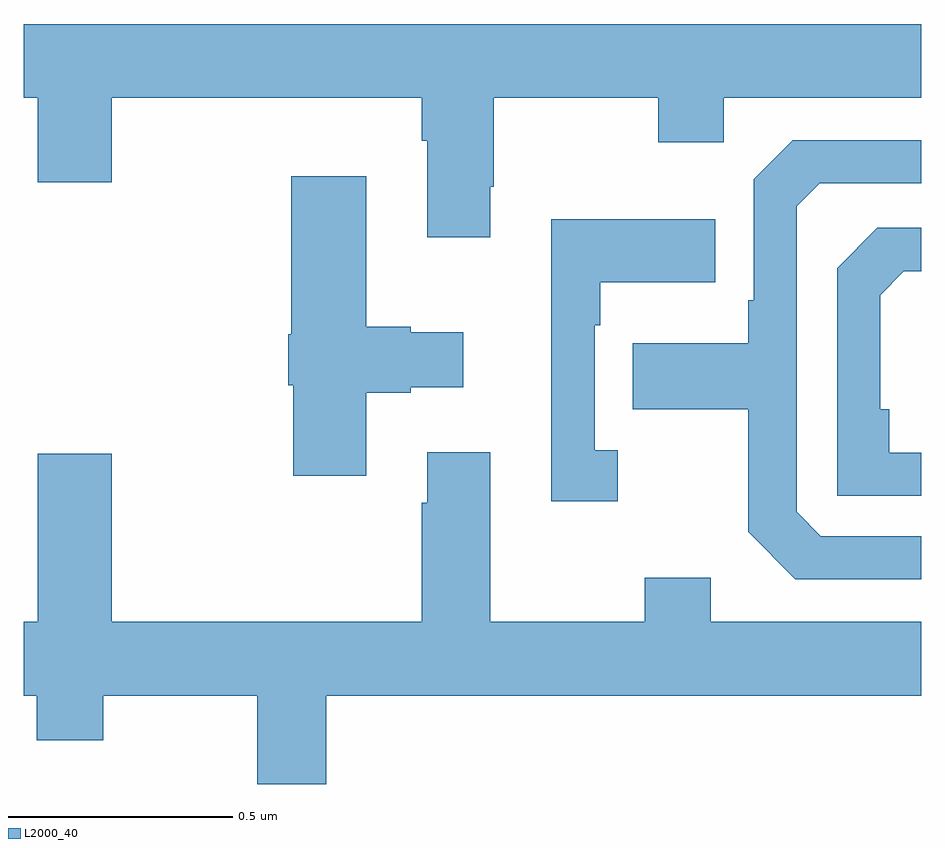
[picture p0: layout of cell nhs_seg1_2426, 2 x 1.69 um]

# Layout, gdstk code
import gdstk
lib = gdstk.Library(unit=1e-6, precision=1e-09)
def P(c, l, *ps):  # polygons
    for p in ps: c.add(gdstk.Polygon(p, *l))
L2000_40 = (2000, 40)

nhs_seg1_2426 = lib.new_cell('nhs_seg1_2426')
P(nhs_seg1_2426, L2000_40, [(142.039,555.529),(142.047,555.529),(142.047,555.728),(142.414,555.728),(142.414,555.629),(142.56,555.629),(142.56,555.728),(143,555.728),(143,555.892),(141,555.892),(141,555.728),(141.032,555.728),(141.032,555.54),(141.196,555.54),(141.196,555.728),(141.887,555.728),(141.887,555.632),(141.899,555.632),(141.899,555.417),(142.039,555.417)],
  [(143,554.751),(142.776,554.751),(142.722,554.805),(142.722,555.486),(142.773,555.537),(143,555.537),(143,555.633),(142.713,555.633),(142.626,555.546),(142.626,555.277),(142.614,555.277),(142.614,555.181),(142.357,555.181),(142.357,555.034),(142.614,555.034),(142.614,554.761),(142.719,554.655),(143,554.655)],
  [(141.763,555.071),(141.863,555.071),(141.863,555.083),(141.979,555.083),(141.979,555.205),(141.863,555.205),(141.863,555.218),(141.763,555.218),(141.763,555.553),(141.596,555.553),(141.596,555.201),(141.59,555.201),(141.59,555.087),(141.601,555.087),(141.601,554.886),(141.763,554.886)],
  [(142.324,554.942),(142.272,554.942),(142.272,555.221),(142.285,555.221),(142.285,555.317),(142.541,555.317),(142.541,555.457),(142.175,555.457),(142.175,554.829),(142.324,554.829)],
  [(143,554.937),(142.928,554.937),(142.928,555.034),(142.908,555.034),(142.908,555.288),(142.961,555.341),(143,555.341),(143,555.438),(142.902,555.438),(142.812,555.348),(142.812,554.841),(143,554.841)],
  [(141.674,554.396),(143,554.396),(143,554.56),(142.531,554.56),(142.531,554.659),(142.384,554.659),(142.384,554.56),(142.039,554.56),(142.039,554.938),(141.899,554.938),(141.899,554.825),(141.887,554.825),(141.887,554.56),(141.196,554.56),(141.196,554.935),(141.032,554.935),(141.032,554.56),(141,554.56),(141,554.396),(141.029,554.396),(141.029,554.297),(141.177,554.297),(141.177,554.396),(141.521,554.396),(141.521,554.199),(141.674,554.199)])

lib.write_gds('nhs_seg1_2426.gds')
